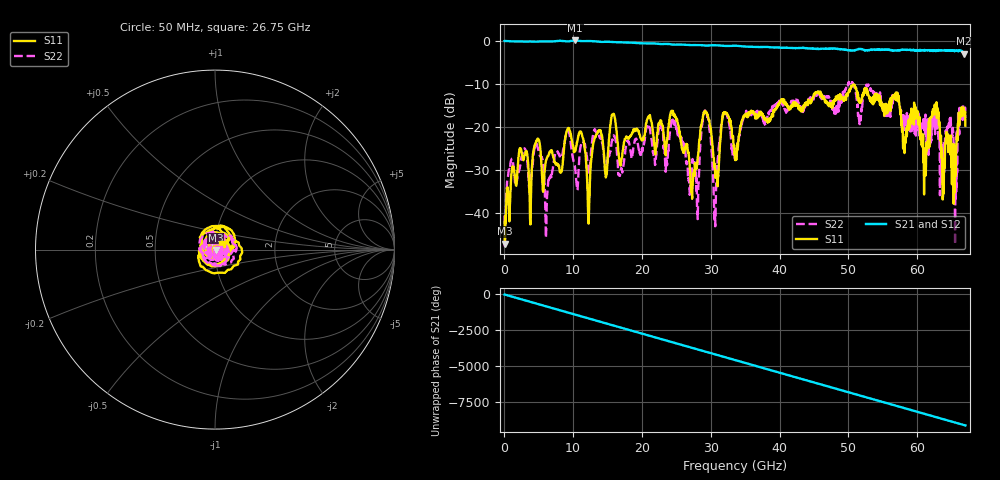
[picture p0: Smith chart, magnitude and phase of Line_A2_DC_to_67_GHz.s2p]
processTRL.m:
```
close all; clear; clc; addpath(genpath(fullfile(pwd, '\Uni', '\research', 'POTOM', '\ISS 104-783 measurement')))
s = settings;
s.matlab.appearance.figure.GraphicsTheme.TemporaryValue = "light";
c = 299792458;
epsilon0 = 1/(c^2*4*pi*1e-7);

%% Initialization

% ISS CPW parameters
W = 45e-6;                                                                  % measured conductor width
G = 30e-6;                                                                  % measured gap width
T = 3e-6;                                                                   % estimated conductor thickness (tune)
H = 0.254e-3;                                                               % nominal substrate height
epsilonR = 9.9;                                                             % nominal estimate of the substrate relative permittivity (tune)

% Calibration Thru measured physical length
ThruLength = 200e-6;

% Verification Line{1..5} nominal physical lengths from datasheet
Line1Length = 446e-6;
Line2Length = 896e-6;
Line3Length = 1796e-6;
Line4Length = 3496e-6;
Line5Length = 5246e-6;

% Correction of lengths due to the vertical overtravel of probes during
% measurement resulting in their horizontal skate over the contacts.
% The ISS datasheet recommends the overtravel of 75 to 125 um resulting
% in ~35 um of horizontal skate.
skate = 35e-6;
ThruLength =  ThruLength - 2*skate;
Line1Length = Line1Length - 2*skate;
Line2Length = Line2Length - 2*skate;
Line3Length = Line3Length - 2*skate;
Line4Length = Line4Length - 2*skate;
Line5Length = Line5Length - 2*skate;

% Lines length minus Thru length
LinesLength = [ThruLength; Line1Length; Line2Length; Line3Length; Line4Length; Line5Length] - ThruLength;

%% Measurement data
% Thru measurement
folderName = 'absorber';
[f67, ThruMeas67] = SXPParse(fullfile(folderName, 'Thru_A1_DC_to_67_GHz.s2p'));
[f110, ThruMeas110] = SXPParse(fullfile(folderName, 'Thru_A2_67_to_110_GHz.s2p'));
f = [f67; f110];
omega = 2*pi*f;

% Reflect measurement and parameters
[~, ShortMeas67] = SXPParse(fullfile(folderName, 'Short_A1_DC_to_67_GHz.s2p'));
[~, ShortMeas110] = SXPParse(fullfile(folderName, 'Short_A2_67_to_110_GHz.s2p'));

[~, OpenMeas67] = SXPParse(fullfile(folderName, 'Open_DC_to_67_GHz.s2p'));
[~, OpenMeas110] = SXPParse(fullfile(folderName, 'Open_67_to_110_GHz.s2p'));

ReflectModel = -1;                                                          % using short as the reflect caliber
ReflectOffset = -ThruLength/2;                                              % reference plane in the center of Thru

% Lines measurement
[~, Line1Meas67] = SXPParse(fullfile(folderName, 'Line_A1_DC_to_67_GHz.s2p'));
[~, Line1Meas110] = SXPParse(fullfile(folderName, 'Line_A1_67_to_110_GHz.s2p'));

[~, Line2Meas67] = SXPParse(fullfile(folderName, 'Line_A2_DC_to_67_GHz.s2p'));
[~, Line2Meas110] = SXPParse(fullfile(folderName, 'Line_A2_67_to_110_GHz.s2p'));

[~, Line3Meas67] = SXPParse(fullfile(folderName, 'Line_A3_DC_to_67_GHz.s2p'));
[~, Line3Meas110] = SXPParse(fullfile(folderName, 'Line_A3_67_to_110_GHz.s2p'));

[~, Line4Meas67] = SXPParse(fullfile(folderName, 'Line_A4_DC_to_67_GHz.s2p'));
[~, Line4Meas110] = SXPParse(fullfile(folderName, 'Line_A4_67_to_110_GHz.s2p'));

[~, Line5Meas67] = SXPParse(fullfile(folderName, 'Line_A5_DC_to_67_GHz.s2p'));
[~, Line5Meas110] = SXPParse(fullfile(folderName, 'Line_A5_67_to_110_GHz.s2p'));

LineMeas67 = cat(4, ThruMeas67, Line1Meas67, Line2Meas67, Line3Meas67, Line4Meas67, Line5Meas67);
LineMeas110 = cat(4, ThruMeas110, Line1Meas110, Line2Meas110, Line3Meas110, Line4Meas110, Line5Meas110);

% Match measurement for calibration verifiaction
[~, MatchMeas67] = SXPParse(fullfile(folderName, 'Match_A1_DC_to_67_GHz.s2p'));
[~, MatchMeas110] = SXPParse(fullfile(folderName, 'Match_A2_67_to_110_GHz.s2p'));

%% TRL calibration 
% The whole calibration process operates on measurements taken by an
% already pre-calibrated setup. This pre-calibration is performed at the
% tips of the coaxial cables connecting the VNA to the microwave probe
% station. However, the subsequent transmission lines leading to the probes
% are different in the measurement setups of the two frequency bands:
% * DC to 67 GHz: connectors, probes
% * 67 to 110 GHz: connectors, probes, frequency adapters, WR-10
%   waveguides, 1mm coaxial cables
%
% Therefore the error boxes must be computed separately for both bands DC
% to 67 GHz and 67 to 110 GHz due to the fact that the two measurements are
% calibrated at completely different planes meaning that they calibrate
% different microwave circuits. Subsequently plotting the error boxes for
% the two bands connected makes little sense. Whereas the magnitude of
% resulting error-box S-parameters might connect relatively smoothly for a
% random reason, the phase will take on a completely different behaviour at
% 67 GHz and further.

% Error boxes for all Line combinations
[allEa67, allEb67, propConst67, EPD67, lineComb, dL, reflectSol67, epsEff67] = ...
   mTRL(LineMeas67, LinesLength, ShortMeas67, ReflectModel, f67, 'm', ReflectOffset);
[allEa110, allEb110, propConst110, EPD110, ~, ~, reflectSol110, epsEff110] = ...
   mTRL(LineMeas110, LinesLength, ShortMeas110, ReflectModel, f110, 'm', ReflectOffset);
propConst = [propConst67; propConst110];

% Calibration for all Line combinations
MatchAllCal67 = calibrate2PortSParDUT(allEa67, allEb67, MatchMeas67);
MatchAllCal110 = calibrate2PortSParDUT(allEa110, allEb110, MatchMeas110);

OpenAllCal67 = calibrate2PortSParDUT(allEa67, allEb67, OpenMeas67);
OpenAllCal110 = calibrate2PortSParDUT(allEa110, allEb110, OpenMeas110);

ThruAllCal67 = calibrate2PortSParDUT(allEa67, allEb67, ThruMeas67);
ThruAllCal110 = calibrate2PortSParDUT(allEa110, allEb110, ThruMeas110);

% Weighted mean of all calibration combinations
weights67 = sin(EPD67).*(dL.').^2;
weights110 = sin(EPD110).*(dL.').^2;

MatchCal = cat(3, wMeanSPar(MatchAllCal67, weights67), wMeanSPar(MatchAllCal110, weights110));
OpenCal = cat(3, wMeanSPar(OpenAllCal67, weights67), wMeanSPar(OpenAllCal110, weights110));
ThruCal = cat(3, wMeanSPar(ThruAllCal67, weights67), wMeanSPar(ThruAllCal110, weights110));

%% In search of impedance (text)
% From [Marks and Williams, Characteristic Impedance Determination Using
% Propagation Constant Measurement] (paraphrased):
%
% Assumptions:
% * low substrate loss,
% * weak transverse current in the conductors.
% These are is typically true except at very high frequencies.
%
% This means $G$ is negligible and thus the equation
% $\gamma/Z_0 = i\omega C + G,$                                         (1)
% can be used for the determination of the phase of $Z_0$ from a
% measurement of the phase of $\gamma$, the
% propagation constant readily given by the TRL calibration. The allows
% for the transformation to a real impedance.
% If, in addition, $C$ is known then Equation~1 allows for the
% determination of the magnitude of $Z_0$ from $\gamma$ as well.
%
% Note: A similar way of characteristic impedance determination can be
% developed using the values of $L$ and $R$. However, this approach can not
% be recommended over the one described above due to the intrinsic problems
% caused by the strong dependence of $L$ and $R$ on the conductivity and
% frequency due to the varying current inside the metal.
%
%
% From [Lipa, Steer, Morris and Franzon, Comparison of Methods for
% Determining the Capacitance of Planar Transmission Lines with Application
% to Multichip Module Characterization] (paraphrased):
% 
% Method B (High Frequency Extrapolation):
% Assumed frequency dependence of the per unit components of the line:
% * $C$ and $G/\omega$ are approximately frequency independent,
% * $R$ has a DC component $R_{DC}$ and a skin effect resistance $R_S$
%   which has an assumed approximately $\omega^0.5$ dependence when the
%   skin effect is fully established,
% * $L = L_0 + L_int$, where $L_int$ is the internal conductor inductance
%   of the line due to current internal to the conductors and is
%   asymptotically zero at high frequencies (fully establised skin effect),
% * $R << \omega L_0$ at high frequencies.
% Result:
% $C \approx c^2*C_0/\omega^2 Re(\gamma^2),$                            (2)
% where $C_0$ is the per unit capacitance of the line in the absence of
% dielectric.
% Personal note: The approach described above assumes we know $C_0$.
% However, this knowledge can be utilized to make a direct estimate of the
% characteristic impedance without estimating the value of $C$. This
% estimate is then given as
% $Z_C = -i\gamma/(\omega\epsilon_{r,eff}C_0}.$                         (3)
% This, on the other hand, assumes we know $\epsilon_{r,eff}$. This
% quantity already conveys the frequency dependence of $C$.
%
% Method C (Low Frequency Extrapolation - $R_{DC}$ method):
% Assumptions:
% * negligible dielectric loss $LG$,
% * negligible skin effect resistance $R_S$.
% These simplifications are reasonable at low frequencies.
% Result:
% $C = \lim_{f \to f_0} Im(\gamma^2)/(R_{DC}*\omega).$                  (4)

% Indices of the Line combinations sorted by Line length difference
[~, ind] = sort(dL);
% Select the greatest length difference measurement for best accuracy
Gamma = propConst(:,ind(end));

%% Method B for capacitance per unit length determination
% Conformal maps parameters
k1 = W/(W+2*G);
k1Prime = sqrt(1-k1^2);
k2 = sinh(pi*W/(4*H))/sinh(pi*(W+2*G)/(4*H));
k2Prime = sqrt(1-k2^2);
% % Elliptic integral ratio approximation (error < 8e-6)
% if 0 <= k1 && k1 <= 1/sqrt(2)
%     EIRatio = pi/log(2*(1+sqrt(k1Prime))/(1-sqrt(k1Prime)));
% elseif 1/sqrt(2) <= k1 && k1 <= 1
%     EIRatio = log(2*(1+sqrt(k1))/(1-sqrt(k1)))/pi;
% else
%     error("The conformal-map variable k1 is out of the interval [0,1]!")
% end
% % Approximation verification: FAIL - error > 8e-6! ... discuss
% assert(EIRatio-ellipke(k1)/ellipke(k1Prime));
EIRatio1 = ellipke(k1)/ellipke(k1Prime);
EIRatio2 = ellipke(k2)/ellipke(k2Prime);
epsilonEff = 1+(epsilonR-1)*EIRatio2/(2*EIRatio1);

% DC capacitance per unit length (B2M17MIOA lectures from prof. Hoffmann)
C_t = epsilon0*(epsilonEff*4*EIRatio1+(2.3*1.65^(-18*T/G)+2)*T/G);
C_1t = epsilon0*(4*EIRatio1+(2.3*1.65^(-18*T/G)+2)*T/G);
C_0 = C_t + C_1t;                                                           % I guess that's how you get the final value?

% HF approximation of capacitance per unit length
C_HF = c^2*C_0*real(Gamma.^2)./(omega.^2);

% Characteristic impedance
Z_HF = -1i*Gamma./(omega.*C_HF);

%% Direct computation of impedance from $C_0$
Z_Direct = -1i*Gamma./(omega*epsilonEff*C_0);

%% LF extrapolation of capacitance per unit length ($R_{DC}$ method)
R_DC = 900e-3;                                                                 % Not exact so far
C_LF = imag(Gamma.^2)./(R_DC*omega);

% Characteristic impedance
Z_LF = -1i*Gamma./(omega.*C_LF);

%% Figures
% Legend for all Line combinations
combLegendText = sprintf('%d-%d (%3.1f mm)\n', [lineComb.'; dL.'*1e3]);
combLegendText = strsplit(combLegendText, '\n');
combLegendText(end) = [];

% Combinations colors: Lines difference ~ color temperature
% (the greater the Lines difference, the more precise results we obtain)
allColors = mat2cell(jet(length(dL)), ones(length(dL), 1), 3);

% Impedances concatenation for easier plotting
Z = [Z_Direct, Z_HF, Z_LF];

% % Reflect model for all Line combinations (choose using the mouse wheel)
% inspectReflectSolutions([reflectSol67; reflectSol110], f, lineComb, 'Calibrated Reflect Options')
% 
% % Error box A S-parameters
% figure('Name', 'Error box A (DC to 67 GHz)')
% showXPortParameters({freq67}, convert4DSparToCell(allEa67))
% 
% figure('Name', 'Error box A (67 to 110 GHz)')
% showXPortParameters({freq110}, convert4DSparToCell(allEa110))
% 
% % Error box B S-parameters
% figure('Name', 'Error box B (DC to 67 GHz)')
% showXPortParameters({freq67}, convert4DSparToCell(allEb67))
% 
% figure('Name', 'Error box B (67 to 110 GHz)')
% showXPortParameters({freq110}, convert4DSparToCell(allEb110))
% 
% % Propagation constant
% plotPropagationConst(f, propConst, lineComb, dL, 'Propagation constant');
% 
% % Effective Phase Delay
% figure('Name', 'Effective Phase Delay')
% plot(f/1e9, [EPD67; EPD110])
% grid on
% axis tight
% xlabel('Frequency (GHz)')
% ylabel('EPD')
% legend(combLegendText, 'Location', 'best')
% title('Effective Phase Delay')
% 
% % Effective Permittivity
% figure('Name', 'Effective Permittivity')
% hLinesEpsEff = plot(f/1e9, [epsEff67(:, ind); epsEff110(:, ind)]);
% [hLinesEpsEff.Color] = allColors{:};
% grid on
% axis tight
% ylim([4 6])
% xlabel('Frequency (GHz)')
% ylabel('\epsilon_{eff} (-)')
% legend(combLegendText(ind), 'Location', 'best')
% title('Effective Permittivity')
% 
% % Calibrated Match S-parameters for all Line combinations
% figure('Name', 'Calibrated Match - all Line combinations')
% showXPortParameters({f}, convert4DSparToCell(cat(3, MatchAllCal67, MatchAllCal110)))
% 
% % Calibrated Match S-parameters for the weighted average
% figure('Name', 'Calibrated Match - weighted mean')
% showXPortParameters({f}, {MatchCal})
% 
% % Calibrated Open S-parameters for all Line combinations
% figure('Name', 'Calibrated Open - all Line combinations')
% showXPortParameters({f}, convert4DSparToCell(cat(3, OpenAllCal67, OpenAllCal110)))
% 
% % Calibrated Open S-parameters for the weighted average
% figure('Name', 'Calibrated Open - weighted mean')
% showXPortParameters({f}, {OpenCal})
% 
% % Calibrated Thru (the only known standard) S-parameters for all Line combinations
% figure('Name', 'Calibrated Thru - all Line combinations')
% showXPortParameters({f}, convert4DSparToCell(cat(3, ThruAllCal67, ThruAllCal110)))
% 
% % Calibrated Thru (the only known standard) S-parameters for the weighted average
% figure('Name', 'Calibrated Thru - weighted mean')
% showXPortParameters({f}, {ThruCal})

% Characteristic impedance (real part)
figure('WindowState', 'maximized', 'Name', 'Characteristic impedance');
tiles = tiledlayout(2, 1);
nexttile;
plot(f/1e9, real(Z_HF))
hold on
plot(f/1e9, real(Z_Direct))
plot(f/1e9, real(Z_LF))
yline(50, '--', '50')
hold off
grid on
xlim([0 110])
ylim([-100 100])
% xlabel('Frequency [GHz]')
ylabel('R_0 [\Omega]')

nexttile;
plot(f/1e9, imag(Z_HF))
hold on
plot(f/1e9, imag(Z_Direct))
plot(f/1e9, imag(Z_LF))
hold off
grid on
xlim([0 110])
ylim([-10 10])
xlabel('Frequency [GHz]')
ylabel('X_0 [\Omega]')
legend( ...
    'High-frequency capacitance approximation', ...
    'Direct computation approximating capacitance as C_0', ...
    'Low-frequency capacitance extrapolation (R_{DC} method)', ...
    'Location', 'northoutside' ...
)
title(tiles, 'Characteristic impedance');
```
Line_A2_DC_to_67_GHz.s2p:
#  HZ  S  MA  R  50.00
! Rohde & Schwarz ZVA67 4Ports - Version 4.11 - 1305.7002k04 SN: 101051
! Date: 2023-05-31 11:52:33
! Measurements: S11 S21 S12 S22
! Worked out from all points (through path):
!   1340 points, 50 MHz to 67 GHz, reference 50 ohm
!   highest |S21| = 0.08 dB at 10.3 GHz (marker M1); lowest = -3.0 dB at 66.8 GHz (marker M2)
!   group delay of S21, straight-line fit = 379 ps
!   lowest |S11| = -47.2 dB at 100 MHz (marker M3), VSWR 1.01, Z = 50.4 - j0.238 ohm
!   |S11| at or under -10 dB: start of sweep to end of sweep
!   |S22| runs from -47.8 to -9.6 dB; largest |S21 - S12| = 0.13
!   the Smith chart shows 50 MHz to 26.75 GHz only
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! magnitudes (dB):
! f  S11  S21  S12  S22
! 50 MHz  -42.2  0.0  0.0  -40.7
! 100 MHz  -47.2  0.0  0.0  -47.8
! 2.9 GHz  -26.8  -0.2  -0.2  -25.2
! 10.3 GHz  -25.6  0.1  0.1  -29.7
! 33.55 GHz  -27.8  -1.2  -1.2  -26.8
! 50.3 GHz  -11.1  -2.2  -2.2  -9.7
! 61.2 GHz  -26.3  -2.2  -2.2  -17.2
! 62.8 GHz  -14.3  -2.2  -2.3  -20.1
! 63.8 GHz  -30.9  -2.3  -2.3  -28.1
! 66.8 GHz  -17.1  -3.0  -3.0  -18.0
! 67 GHz  -19.8  -2.8  -2.8  -18.0
